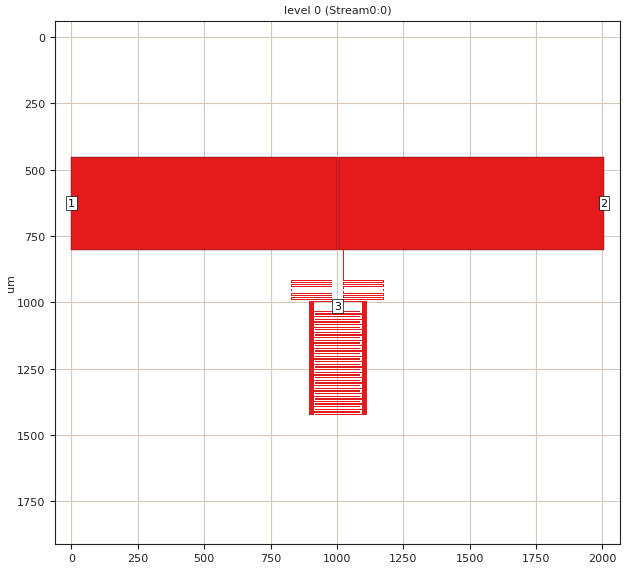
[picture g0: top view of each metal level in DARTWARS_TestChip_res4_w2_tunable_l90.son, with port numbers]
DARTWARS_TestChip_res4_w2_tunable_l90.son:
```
FTYP SONPROJ 19 ! Sonnet Project File
VER 18.52
HEADER
LIC nist5.1.52437
DAT 07/21/2023 09:37:10
BUILT_BY_CREATED gds 18.52 07/28/2022 13:49:38
BUILT_BY_SAVED sonnet 18.52
MDATE 07/13/2023 16:07:53
HDATE 07/13/2023 16:07:53
END HEADER
DIM
ANG DEG
CAP PF
CON /OH
FREQ GHZ
IND NH
LNG UM
RES OH
END DIM
CONTROL
VARSWP
OPTIONS  -d
SPEED 0
CACHE_ABS 2
Q_ACC N
END CONTROL
GEO
TMET "Lossless" 0 SUP 0 0 0 0
BMET "Lossless" 0 SUP 0 0 0 0
MET "NbTiN" 1 SUP 0 0 0 "Lk"
BOX 1 2006 1849 4012 3698 20 0
      1000 1 1 0 0 0 0 "Air"
      525 11.9 1 0 0 0 0 "Si"
TECHLAY METAL Stream0:0 <UNSPECIFIED> 0 0 
0 0 0 N 191 1 1 100 100 0 0 0 Y
END
END
VALVAR Lk NONE 8.5 "Kinetic Inductance"
VALVAR l LNG 90 "Dim. Param."
DIM STD YDIR 1
POS -24.57563758 0.9316996197
NOM 2
REF1 POLY 119 1
19
REF2 POLY 119 1
16
END
DIM STD YDIR 1
POS -31.07636282 3.269371817
NOM 5
REF1 POLY 120 1
7
REF2 POLY 120 1
8
END
DIM STD XDIR 1
POS 1800.709158 -112.9543426
NOM 2006
REF1 POLY 22 1
1
REF2 POLY 4 1
2
END
DIM STD XDIR 1
POS 18.83305332 4.13159435
NOM 17
REF1 POLY 114 1
0
REF2 POLY 22 1
3
END
DIM STD XDIR 1
POS 907.8475597 -49.1155296
NOM 1000
REF1 POLY 22 1
1
REF2 POLY 22 1
2
END
DIM STD XDIR 1
POS 20.35174853 4.031911947
NOM 17
REF1 POLY 4 1
0
REF2 POLY 116 1
1
END
DIM STD XDIR 1
POS 910.7094048 -47.07807678
NOM 1000
REF1 POLY 4 1
1
REF2 POLY 4 1
2
END
LORGN 0 1849 U 
POR1 BOX
POLY 4 1
2
2 50 0 0 0 2006 626 
POR1 BOX
POLY 22 1
0
1 50 0 0 0 0 626 
POR1 GAP
POLY 120 1
3
3 50 0 0 0 1003 1014 
NUM 11
0 67 0 N 2 1 1 100 100 0 0 0 Y
TLAYNAM Stream0:0 INH
893 1426
893 1111
1088 1111
1088 1116
913 1116
913 1131
1088 1131
1088 1136
913 1136
913 1151
1088 1151
1088 1156
913 1156
913 1171
1088 1171
1088 1176
913 1176
913 1191
1088 1191
1088 1196
913 1196
913 1211
1088 1211
1088 1216
913 1216
913 1231
1088 1231
1088 1236
913 1236
913 1251
1088 1251
1088 1256
913 1256
913 1271
1088 1271
1088 1276
913 1276
913 1291
1088 1291
1088 1296
913 1296
913 1311
1088 1311
1088 1316
913 1316
913 1331
1088 1331
1088 1336
913 1336
913 1351
1088 1351
1088 1356
913 1356
913 1371
1088 1371
1088 1376
913 1376
913 1391
1088 1391
1088 1396
913 1396
913 1411
1088 1411
1088 1416
913 1416
913 1426
893 1426
END
0 67 0 N 3 1 1 100 100 0 0 0 Y
TLAYNAM Stream0:0 INH
918 1426
918 1421
1093 1421
1093 1406
918 1406
918 1401
1093 1401
1093 1386
918 1386
918 1381
1093 1381
1093 1366
918 1366
918 1361
1093 1361
1093 1346
918 1346
918 1341
1093 1341
1093 1326
918 1326
918 1321
1093 1321
1093 1306
918 1306
918 1301
1093 1301
1093 1286
918 1286
918 1281
1093 1281
1093 1266
918 1266
918 1261
1093 1261
1093 1246
918 1246
918 1241
1093 1241
1093 1226
918 1226
918 1221
1093 1221
1093 1206
918 1206
918 1201
1093 1201
1093 1186
918 1186
918 1181
1093 1181
1093 1166
918 1166
918 1161
1093 1161
1093 1146
918 1146
918 1141
1093 1141
1093 1126
918 1126
918 1121
1093 1121
1093 1111
1113 1111
1113 1426
918 1426
END
0 5 0 N 4 1 1 100 100 0 0 0 Y
TLAYNAM Stream0:0 INH
1006 801
1006 451
2006 451
2006 801
1006 801
END
0 5 0 N 22 1 1 100 100 0 0 0 Y
TLAYNAM Stream0:0 INH
0 801
0 451
1000 451
1000 801
0 801
END
0 5 0 N 114 1 1 100 100 0 0 0 Y
TLAYNAM Stream0:0 INH
983 801
980 801
980 916
983 916
983 801
END
0 5 0 N 116 1 1 100 100 0 0 0 Y
TLAYNAM Stream0:0 INH
1026 801
1023 801
1023 916
1026 916
1026 801
END
0 45 0 N 118 1 1 100 100 0 0 0 Y
TLAYNAM Stream0:0 INH
983 988
831 988
831 983
983 983
983 972
831 972
831 967
983 967
983 956
831 956
831 951
983 951
983 940
831 940
831 935
983 935
983 924
831 924
831 919
983 919
983 916
828 916
828 927
980 927
980 932
828 932
828 943
980 943
980 948
828 948
828 959
980 959
980 964
828 964
828 975
980 975
980 980
828 980
828 991
980 991
980 996
893 996
893 999
983 999
983 988
END
0 25 0 N 119 1 1 100 100 0 0 0 Y
TLAYNAM Stream0:0 INH
913 1096
1088 1096
1088 1091
913 1091
913 1076
1088 1076
1088 1071
913 1071
913 1056
1088 1056
1088 1051
913 1051
913 1036
1088 1036
1088 1031
913 1031
913 1015
1003 1015
1003 1013
913 1013
913 999
893 999
893 1111
913 1111
913 1096
END
0 25 0 N 120 1 1 100 100 0 0 0 Y
TLAYNAM Stream0:0 INH
1113 999
1093 999
1093 1013
1003 1013
1003 1015
1093 1015
1093 1041
918 1041
918 1046
1093 1046
1093 1061
918 1061
918 1066
1093 1066
1093 1081
918 1081
918 1086
1093 1086
1093 1101
918 1101
918 1106
1093 1106
1093 1111
1113 1111
1113 999
END
0 45 0 N 122 1 1 100 100 0 0 0 Y
TLAYNAM Stream0:0 INH
1023 988
1175 988
1175 983
1023 983
1023 972
1175 972
1175 967
1023 967
1023 956
1175 956
1175 951
1023 951
1023 940
1175 940
1175 935
1023 935
1023 924
1175 924
1175 919
1023 919
1023 916
1178 916
1178 927
1026 927
1026 932
1178 932
1178 943
1026 943
1026 948
1178 948
1178 959
1026 959
1026 964
1178 964
1178 975
1026 975
1026 980
1178 980
1178 991
1026 991
1026 996
1113 996
1113 999
1023 999
1023 988
END
0 5 0 N 181 1 1 100 100 0 0 0 Y
TLAYNAM Stream0:0 INH
1000 451
1006 451
1006 801
1000 801
1000 451
END
END GEO
OPT
MAX 100
END OPT
VARSWP
SWPVARS ON
ENABLED Y
FREQ Y AY ABS_ENTRY 0.1 10.0 -1 300 
VAR Lk Y 5.0 20.0 0.2
VAR l N 70.0 110.0 2.0
END
END VARSWP
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```
